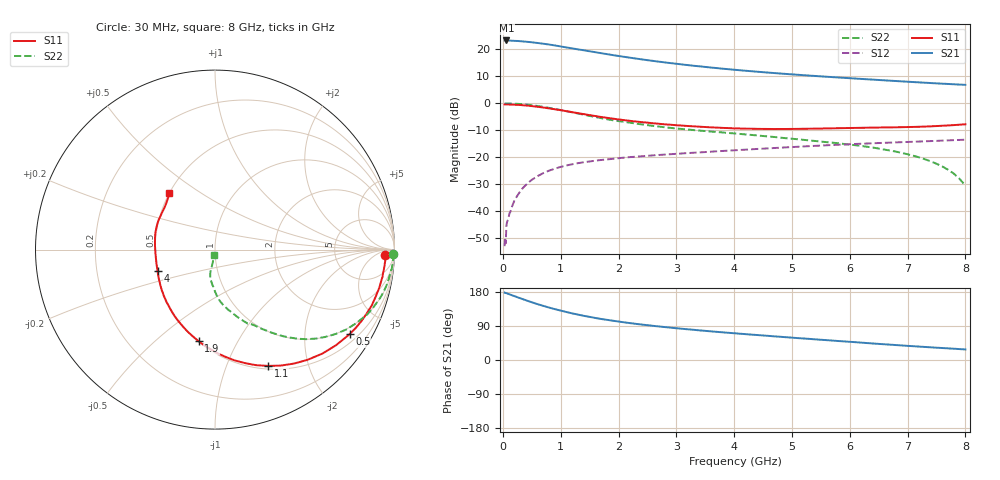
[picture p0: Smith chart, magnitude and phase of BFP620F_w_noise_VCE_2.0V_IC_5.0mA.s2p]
! Infineon Technologies  Discrete & RF Semiconductors
! BFP620F
! VCE =  2.0 V,  IC =  5.0 mA
! Common Emitter S-Parameters:  Dec 2014
# GHz  S  MA  R  50
!  f  S11  S21  S12  S22
! GHz  MAG  ANG  MAG  ANG  MAG  ANG  MAG  ANG
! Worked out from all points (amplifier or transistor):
!   95 points, 30 MHz to 8 GHz, reference 50 ohm
!   highest |S21| = 23.4 dB at 60 MHz (marker M1)
!   |S21| within 3 dB of that: start of sweep to 1.216 GHz
!   unconditionally stable (mu >= 1): 5.128 GHz to end of sweep
!   at 300 MHz: K = 0.09, MSG = 27.9 dB, |S12| = -32.8 dB
!   at 3.3 GHz: K = 0.83, MSG = 16.2 dB, |S12| = -18.4 dB
!   at 8 GHz: K = 1.12, MAG = 8.1 dB, |S12| = -13.6 dB
!   lowest NFmin = 0.52 dB at 450 MHz
!   S11 on the Smith chart (normalised r, x): 30 MHz: 27, -18; 500 MHz: 0.76, -3.32; 1.1 GHz: 0.54, -1.41; 1.9 GHz: 0.50, -0.70; 4 GHz: 0.50, -0.14; 8 GHz: 0.50, +0.38
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0.03  0.9495 -1.9  14.67 177.8  0.0022 87.4  0.9934 -1.4
0.04  0.9502 -2.5  14.62 177.2  0.0032 85.2  0.9932 -1.9
0.05  0.9493 -3.3  14.66 176.8  0.0025 88.4  0.9915 -2.3
0.06  0.9506 -3.8  14.71 176.5  0.0051 107.0  0.9931 -2.6
0.25  0.933 -16.3  14.4 165.7  0.0191 80.9  0.976 -11.8
0.4  0.9082 -25.9  13.96 157.6  0.0304 76.0  0.9455 -18.7
0.5  0.8861 -32.1  13.61 152.5  0.0377 72.5  0.9213 -23.1
0.6  0.8594 -38.3  13.21 147.4  0.0441 69.4  0.8889 -27.3
0.8  0.8018 -50.0  12.36 138.3  0.0559 63.8  0.8212 -34.9
1.1  0.7121 -65.5  10.91 126.6  0.0697 56.6  0.7119 -44.5
1.4  0.6272 -79.9  9.658 116.6  0.0801 51.5  0.6128 -51.9
1.7  0.5549 -92.6  8.529 108.3  0.0881 47.8  0.5283 -58.1
1.9  0.518 -100.2  7.862 103.7  0.0926 46.1  0.4833 -61.8
2.3  0.457 -114.5  6.781 95.4  0.1014 42.9  0.4186 -69.2
2.7  0.4151 -126.7  5.93 88.5  0.1092 40.7  0.3683 -74.4
3.4  0.3664 -145.5  4.857 78.2  0.1218 38.2  0.3101 -81.8
4  0.3409 -159.6  4.201 70.6  0.1334 36.2  0.2746 -85.9
4.1  0.3393 -161.7  4.107 69.4  0.1353 35.9  0.2688 -86.5
5.4  0.3373 172.6  3.216 54.5  0.1613 31.3  0.1987 -94.0
6.7  0.3559 149.8  2.628 40.5  0.1855 25.4  0.1318 -101.4
7.6  0.3814 134.3  2.314 31.6  0.202 21.7  0.0669 -99.9
8  0.4065 128.7  2.198 27.8  0.21 19.7  0.0294 -103.8
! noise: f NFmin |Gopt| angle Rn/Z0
0.45  0.52  0.46  9  0.28
0.9  0.59  0.43  20  0.24
1.5  0.66  0.38  26  0.22
1.8  0.7  0.36  30  0.21
1.9  0.71  0.31  42  0.23
2.4  0.77  0.28  56  0.21
3.5  0.9  0.27  77  0.16
5.5  1.12  0.18  155  0.13
6  1.17  0.14  173  0.25
